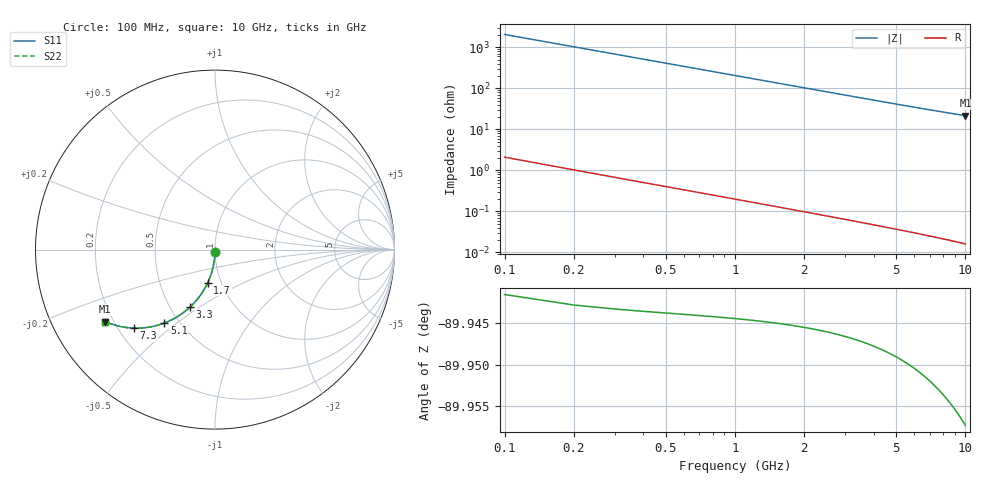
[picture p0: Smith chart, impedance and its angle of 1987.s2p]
# Hz S RI R 50.00
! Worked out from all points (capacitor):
!   100 points, 100 MHz to 10 GHz, reference 50 ohm
!   read as one part in shunt: C = 771 fF near 100 MHz
!   lowest |Z| = 21.7 ohm at 10 GHz (marker M1)
!   S11 on the Smith chart (normalised r, x): 100 MHz: 1.00, -0.02; 1.7 GHz: 0.86, -0.33; 3.3 GHz: 0.63, -0.46; 5.1 GHz: 0.42, -0.45; 7.3 GHz: 0.26, -0.38; 10 GHz: 0.17, -0.29
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1e8  1.28e-05 -0.0113  0.9997 -0.0129  0.9997 -0.0129  1.28e-05 -0.0113
2e8  -0.000436 -0.0226  0.9992 -0.0258  0.9992 -0.0258  -0.000436 -0.0226
3e8  -0.00118 -0.0339  0.9985 -0.0387  0.9985 -0.0387  -0.00118 -0.0339
4e8  -0.00221 -0.0451  0.9974 -0.0515  0.9974 -0.0515  -0.00221 -0.0451
5e8  -0.00352 -0.0564  0.9961 -0.0643  0.9961 -0.0643  -0.00352 -0.0564
6e8  -0.00513 -0.0675  0.9945 -0.0771  0.9945 -0.0771  -0.00513 -0.0675
8e8  -0.00919 -0.0897  0.9904 -0.1024  0.9904 -0.1024  -0.00919 -0.0897
1.1e9  -0.0174 -0.1223  0.9821 -0.1398  0.9821 -0.1398  -0.0174 -0.1223
1.4e9  -0.0279 -0.1539  0.9715 -0.1763  0.9715 -0.1763  -0.0279 -0.1539
1.7e9  -0.0407 -0.1844  0.9586 -0.2115  0.9586 -0.2115  -0.0407 -0.1844
1.8e9  -0.0455 -0.1943  0.9538 -0.223  0.9538 -0.223  -0.0455 -0.1943
2.1e9  -0.061 -0.2229  0.9381 -0.2564  0.9381 -0.2564  -0.061 -0.2229
2.5e9  -0.0845 -0.2585  0.9143 -0.2985  0.9143 -0.2985  -0.0845 -0.2585
3.3e9  -0.1393 -0.3201  0.859 -0.3731  0.859 -0.3731  -0.1393 -0.3201
3.4e9  -0.1467 -0.3269  0.8515 -0.3815  0.8515 -0.3815  -0.1467 -0.3269
4.2e9  -0.2088 -0.3731  0.7885 -0.4408  0.7885 -0.4408  -0.2088 -0.3731
5.1e9  -0.2817 -0.4089  0.7145 -0.4916  0.7145 -0.4916  -0.2817 -0.4089
5.9e9  -0.3459 -0.4279  0.6491 -0.524  0.6491 -0.524  -0.3459 -0.4279
6.7e9  -0.4073 -0.4366  0.5863 -0.5462  0.5863 -0.5462  -0.4073 -0.4366
7.3e9  -0.4507 -0.4374  0.5417 -0.5574  0.5417 -0.5574  -0.4507 -0.4374
8.4e9  -0.5234 -0.429  0.4665 -0.5683  0.4665 -0.5683  -0.5234 -0.429
1e10  -0.6123 -0.4009  0.373 -0.569  0.373 -0.569  -0.6123 -0.4009
